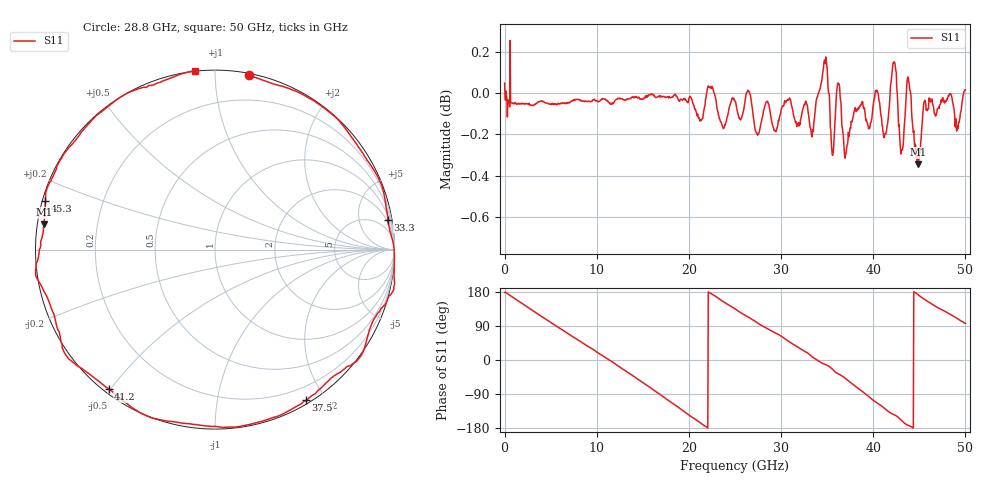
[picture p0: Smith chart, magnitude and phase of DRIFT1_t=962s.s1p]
!Created with skrf (http://scikit-rf.org).
# Hz S RI R 50.0
!freq ReS11 ImS11
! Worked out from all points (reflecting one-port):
!   1001 points, 300 kHz to 50 GHz, reference 50 ohm
!   lowest |S11| = -0.3 dB at 44.9 GHz (marker M1), VSWR 50.46, Z = 0.996 + j3.66 ohm
!   phase of S11 starts at 178 deg and turns -802 deg over the sweep
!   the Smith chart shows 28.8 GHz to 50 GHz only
!   S11 on the Smith chart (normalised r, x): 28.8 GHz: 0.01, +1.21; 33.3 GHz: 2, +11; 37.5 GHz: 0.04, -1.77; 41.2 GHz: 0.02, -0.49; 45.3 GHz: 0.01, +0.14; 50 GHz: -0.00, +0.89
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300000  -1.005 0.0325
1.75029e9  -0.8738 0.4742
3.600278e9  -0.52 0.8482
6.250262e9  0.1791 0.9781
7.950252e9  0.5961 0.7987
9.800241e9  0.9095 0.407
1.250022e10  0.9446 -0.3192
1.400022e10  0.7334 -0.6765
1.59002e10  0.2668 -0.9634
1.72502e10  -0.1296 -0.9898
1.875019e10  -0.5419 -0.8376
2.025018e10  -0.8601 -0.5048
2.200017e10  -1.002 -0.0265
2.500015e10  -0.7039 0.7042
2.665014e10  -0.3468 0.9372
2.880013e10  0.1877 0.9722
3.125011e10  0.7306 0.6689
3.33001e10  0.9627 0.1666
3.500009e10  0.9845 -0.2429
3.750008e10  0.5068 -0.8399
3.915007e10  0.0159 -0.9867
4.120005e10  -0.5931 -0.775
4.245005e10  -0.8466 -0.556
4.375004e10  -0.9991 -0.1425
4.490003e10  -0.9509 0.1399
4.530003e10  -0.945 0.2687
4.730002e10  -0.6931 0.7125
5e10  -0.1128 0.9956
